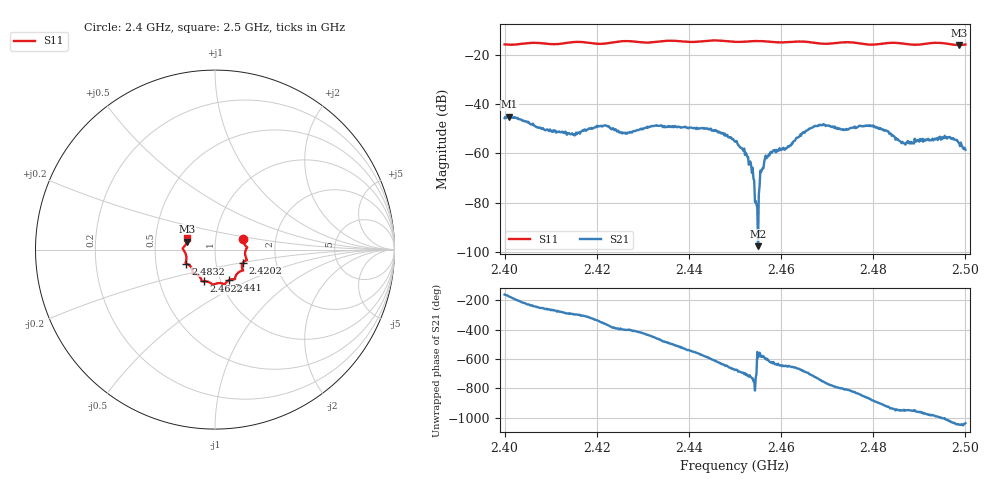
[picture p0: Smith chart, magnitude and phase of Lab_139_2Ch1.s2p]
# Hz S RI R 50
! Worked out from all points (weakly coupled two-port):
!   601 points, 2.4 GHz to 2.5 GHz, reference 50 ohm
!   highest |S21| = -44.99 dB at 2.401 GHz (marker M1); lowest = -97.8 dB at 2.455 GHz (marker M2)
!   lowest |S11| = -15.8 dB at 2.4987 GHz (marker M3), VSWR 1.39, Z = 36.4 + j3.36 ohm
!   |S11| at or under -10 dB: start of sweep to end of sweep
!   S12 and S22 are empty: the file has one direction only
!   S11 on the Smith chart (normalised r, x): 2.4 GHz: 1.36, +0.17; 2.4202 GHz: 1.35, -0.20; 2.441 GHz: 1.09, -0.39; 2.4622 GHz: 0.83, -0.30; 2.4832 GHz: 0.72, -0.12; 2.5 GHz: 0.73, +0.10
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2.4e9  0.1561 0.0593  -0.005 -0.00165  0 0  0 0
2.401e9  0.1576 0.0474  -0.0056 -0.000501  0 0  0 0
2.416667e9  0.1775 -0.0582  0.00159 0.00232  0 0  0 0
2.420167e9  0.1555 -0.0722  0.00327 0.00133  0 0  0 0
2.426e9  0.157 -0.1156  0.00194 -0.00169  0 0  0 0
2.433333e9  0.113 -0.1526  -0.000811 -0.00357  0 0  0 0
2.441e9  0.0764 -0.1709  -0.00322 0.000651  0 0  0 0
2.45e9  0.0261 -0.1862  0.00125 0.00122  0 0  0 0
2.452833e9  0.000581 -0.1916  0.000845 0.0001  0 0  0 0
2.453667e9  -0.0041 -0.1938  0.000398 -7.44e-05  0 0  0 0
2.4545e9  -0.00821 -0.1951  0.000106 -1.6e-05  0 0  0 0
2.455e9  -0.0101 -0.1952  -8.24e-06 9.97e-06  0 0  0 0
2.456e9  -0.0138 -0.1937  -0.000387 0.000324  0 0  0 0
2.456833e9  -0.0176 -0.1908  -0.000345 0.000718  0 0  0 0
2.462167e9  -0.0635 -0.1767  0.00057 0.00134  0 0  0 0
2.466667e9  -0.0765 -0.1665  0.00329 0.000536  0 0  0 0
2.483167e9  -0.1601 -0.0779  -0.00256 0.00122  0 0  0 0
2.483333e9  -0.1609 -0.0775  -0.0025 0.00118  0 0  0 0
2.4865e9  -0.1613 -0.0636  -0.00108 0.00125  0 0  0 0
2.496e9  -0.1716 0.0162  0.000815 0.00183  0 0  0 0
2.498667e9  -0.1555 0.0449  0.00135 0.000912  0 0  0 0
2.5e9  -0.1532 0.0636  0.000879 0.000809  0 0  0 0
